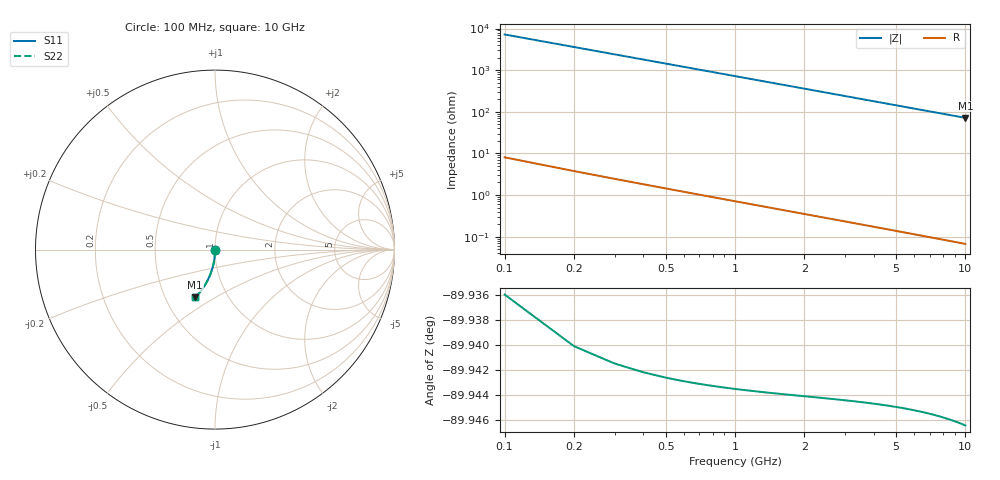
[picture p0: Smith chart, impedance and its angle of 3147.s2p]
# Hz S RI R 50.00
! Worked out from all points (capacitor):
!   100 points, 100 MHz to 10 GHz, reference 50 ohm
!   read as one part in shunt: C = 221 fF near 100 MHz
!   lowest |Z| = 71.5 ohm at 10 GHz (marker M1)
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1e8  0.000105 -0.00299  0.9999 -0.00396  0.9999 -0.00396  0.000105 -0.00299
2e8  6.71e-05 -0.00598  0.9998 -0.00791  0.9998 -0.00791  6.71e-05 -0.00598
3e8  5.15e-06 -0.00897  0.9998 -0.0119  0.9998 -0.0119  5.15e-06 -0.00897
4e8  -8.06e-05 -0.012  0.9997 -0.0158  0.9997 -0.0158  -8.06e-05 -0.012
5e8  -0.00019 -0.015  0.9996 -0.0198  0.9996 -0.0198  -0.00019 -0.015
6e8  -0.000323 -0.0179  0.9994 -0.0237  0.9994 -0.0237  -0.000323 -0.0179
7e8  -0.00048 -0.0209  0.9992 -0.0277  0.9992 -0.0277  -0.00048 -0.0209
8e8  -0.000661 -0.0239  0.9991 -0.0317  0.9991 -0.0317  -0.000661 -0.0239
9e8  -0.000865 -0.0269  0.9988 -0.0356  0.9988 -0.0356  -0.000865 -0.0269
1.1e9  -0.00135 -0.0329  0.9983 -0.0435  0.9983 -0.0435  -0.00135 -0.0329
1.4e9  -0.00224 -0.0418  0.9974 -0.0554  0.9974 -0.0554  -0.00224 -0.0418
1.8e9  -0.00377 -0.0537  0.9958 -0.0711  0.9958 -0.0711  -0.00377 -0.0537
2.1e9  -0.00516 -0.0626  0.9944 -0.0829  0.9944 -0.0829  -0.00516 -0.0626
2.5e9  -0.00735 -0.0744  0.9921 -0.0986  0.9921 -0.0986  -0.00735 -0.0744
2.9e9  -0.00991 -0.0861  0.9894 -0.1142  0.9894 -0.1142  -0.00991 -0.0861
3.4e9  -0.0136 -0.1006  0.9856 -0.1336  0.9856 -0.1336  -0.0136 -0.1006
4.2e9  -0.0208 -0.1235  0.9781 -0.1644  0.9781 -0.1644  -0.0208 -0.1235
5.1e9  -0.0305 -0.1485  0.968 -0.1983  0.968 -0.1983  -0.0305 -0.1485
5.9e9  -0.0405 -0.1701  0.9575 -0.2277  0.9575 -0.2277  -0.0405 -0.1701
6.7e9  -0.0518 -0.1909  0.9457 -0.2565  0.9457 -0.2565  -0.0518 -0.1909
8.4e9  -0.0797 -0.2319  0.9165 -0.3146  0.9165 -0.3146  -0.0797 -0.2319
1e10  -0.1101 -0.2662  0.8847 -0.3652  0.8847 -0.3652  -0.1101 -0.2662
